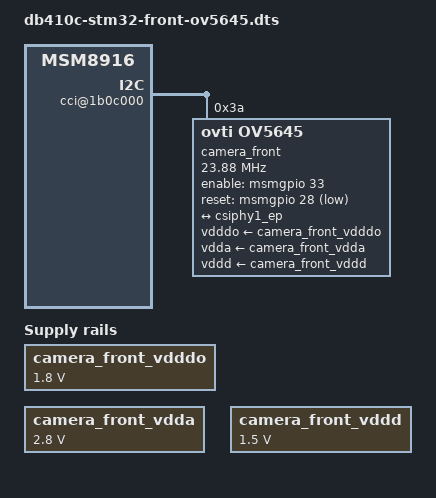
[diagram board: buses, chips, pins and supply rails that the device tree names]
/dts-v1/;
/plugin/;

#include <dt-bindings/clock/qcom,gcc-msm8916.h>
#include <dt-bindings/gpio/gpio.h>

/ {
	compatible = "qcom,msm8916";

	fragment@0 {
		target-path = "/soc";
		__overlay__ {
			camera_front_vdddo: fixedregulator_camera_front@0 {
				compatible = "regulator-fixed";
				regulator-name = "camera_front_vdddo";
				regulator-min-microvolt = <1800000>;
				regulator-max-microvolt = <1800000>;
				regulator-always-on;
			};

			camera_front_vdda: fixedregulator_camera_front@1 {
				compatible = "regulator-fixed";
				regulator-name = "camera_front_vdda";
				regulator-min-microvolt = <2800000>;
				regulator-max-microvolt = <2800000>;
				regulator-always-on;
			};

			camera_front_vddd: fixedregulator_camera_front@2 {
				compatible = "regulator-fixed";
				regulator-name = "camera_front_vddd";
				regulator-min-microvolt = <1500000>;
				regulator-max-microvolt = <1500000>;
				regulator-always-on;
			};
		};
	};

	fragment@1 {
		target-path = "/soc/cci@1b0c000";
		__overlay__ {
			status = "ok";

			camera_front@3a {
				compatible = "ovti,ov5645";
				reg = <0x3a>;

				enable-gpios = <&msmgpio 33 GPIO_ACTIVE_HIGH>;
				reset-gpios = <&msmgpio 28 GPIO_ACTIVE_LOW>;
				pinctrl-names = "default";
				pinctrl-0 = <&camera_front_default>;

				clocks = <&gcc GCC_CAMSS_MCLK1_CLK>;
				clock-names = "xclk";
				clock-frequency = <23880000>;

				vdddo-supply = <&camera_front_vdddo>;
				vdda-supply = <&camera_front_vdda>;
				vddd-supply = <&camera_front_vddd>;

				status = "ok";

				port {
					camera_front_ep: endpoint {
						clock-lanes = <1>;
						data-lanes = <0 2>;
						remote-endpoint = <&csiphy1_ep>;
					};
				};
			};
		};
	};

	fragment@2 {
		target-path = "/soc/camss@1b00000";
		__overlay__ {
			status = "ok";

			ports {
				#address-cells = <1>;
				#size-cells = <0>;
				port@1 {
					reg = <1>;
					csiphy1_ep: endpoint {
						clock-lanes = <1>;
						data-lanes = <0 2>;
						remote-endpoint = <&camera_front_ep>;
						status = "ok";
					};
				};
			};
		};
	};
};
